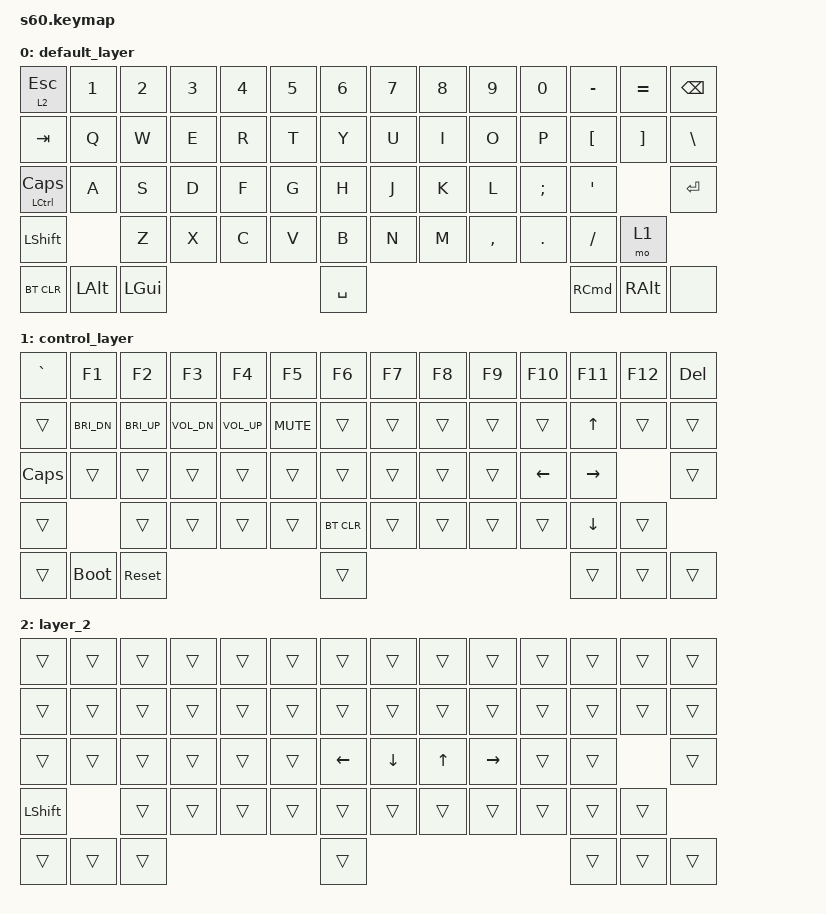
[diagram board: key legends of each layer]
/*
 * Copyright (c) 2023 LAZYDESIGNERS
 *
 * SPDX-License-Identifier: MIT
 */

#include <behaviors.dtsi>
#include <dt-bindings/zmk/bt.h>
#include <dt-bindings/zmk/keys.h>

/ {
    keymap {
        compatible = "zmk,keymap";

        default_layer {
            // ------------------------------------------------------------------------------------------
            // | ESC |  1  |  2  |  3  |  4  |  5  |  6  |  7  |  8  |  9  |  0  |  -  |  =  |   BKSP   |
            // | TAB  |  Q  |  W  |  E  |  R  |  T  |  Y  |  U  |  I  |  O  |  P  |  [  |  ]  |   "|"   |
            // | CAPS  |  A  |  S  |  D  |  F  |  G  |  H  |  J  |  K  |  L  |  ;  |  '  |     ENTER    |
            // |  SHIFT  |  Z  |  X  |  C  |  V  |  B  |  N  |  M  |  ,  |  .  |  /  |      SHIFT       |
            // |  CTL  |  WIN  |  ALT  |            SPACE                       |  MO(1) | WIN  |  CTL  |
            // ------------------------------------------------------------------------------------------

            bindings = <
&lt 2 ESC           &kp N1    &kp N2        &kp N3  &kp N4  &kp N5  &kp N6     &kp N7  &kp N8  &kp N9     &kp N0    &kp MINUS  &kp EQUAL      &kp BSPC
&kp TAB             &kp Q     &kp W         &kp E   &kp R   &kp T   &kp Y      &kp U   &kp I   &kp O      &kp P     &kp LBKT   &kp RBKT       &kp BSLH
&mt LCTRL CAPSLOCK  &kp A     &kp S         &kp D   &kp F   &kp G   &kp H      &kp J   &kp K   &kp L      &kp SEMI  &kp SQT                   &kp RET
&kp LSHFT                     &kp Z         &kp X   &kp C   &kp V   &kp B      &kp N   &kp M   &kp COMMA  &kp DOT   &kp FSLH   &mo 1
&bt BT_CLR          &kp LALT  &kp LEFT_GUI                          &kp SPACE                                       &kp RCMD   &kp RIGHT_ALT  &none
            >;
        };

        control_layer {
            // ------------------------------------------------------------------------------------------------
            // | BT CLR | F1  | F2  | F3  | F4  | F5  | F6  | F7  | F8  | F9  | F10  | F11 | F12 |            |
            // |  BT 1   |   |  UP |      |      |      |      |      |    |     |    |     |     |           |
            // |   BT 2   | LT |  DN  | RT |       |       |      |     |    |    |     |     |               |
            // |    BT 3     |     |      |      |     |     |     |     |     |     |     |                  |
            // |   BT 4  |      |      |                                              |       |       |  DEL  |
            // ------------------------------------------------------------------------------------------------

            bindings = <
&kp GRAVE     &kp F1        &kp F2        &kp F3        &kp F4        &kp F5      &kp F6      &kp F7  &kp F8  &kp F9  &kp F10         &kp F11       &kp F12  &kp DEL
&trans        &kp C_BRI_DN  &kp C_BRI_UP  &kp C_VOL_DN  &kp C_VOL_UP  &kp C_MUTE  &trans      &trans  &trans  &trans  &trans          &kp UP_ARROW  &trans   &trans
&kp CAPSLOCK  &trans        &trans        &trans        &trans        &trans      &trans      &trans  &trans  &trans  &kp LEFT_ARROW  &kp RIGHT              &trans
&trans                      &trans        &trans        &trans        &trans      &bt BT_CLR  &trans  &trans  &trans  &trans          &kp DOWN      &trans
&trans        &bootloader   &sys_reset                                            &trans                                              &trans        &trans   &trans
            >;
        };

        layer_2 {
            bindings = <
&trans     &trans  &trans  &trans  &trans  &trans  &trans    &trans    &trans  &trans     &trans  &trans  &trans  &trans
&trans     &trans  &trans  &trans  &trans  &trans  &trans    &trans    &trans  &trans     &trans  &trans  &trans  &trans
&trans     &trans  &trans  &trans  &trans  &trans  &kp LEFT  &kp DOWN  &kp UP  &kp RIGHT  &trans  &trans          &trans
&kp LSHFT          &trans  &trans  &trans  &trans  &trans    &trans    &trans  &trans     &trans  &trans  &trans
&trans     &trans  &trans                          &trans                                         &trans  &trans  &trans
            >;
        };
    };
};
